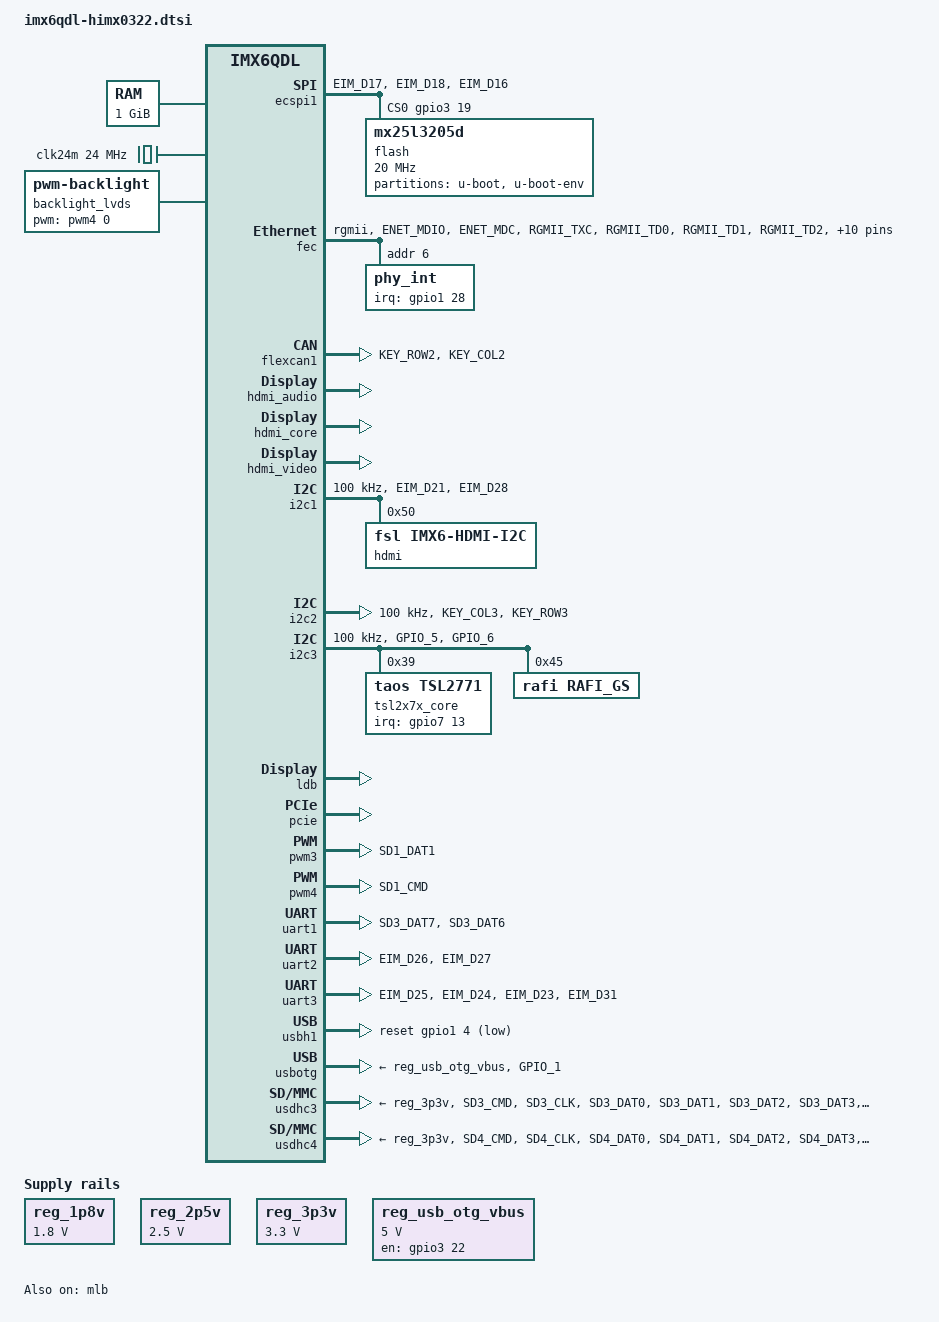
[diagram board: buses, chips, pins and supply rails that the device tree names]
/*
 * Copyright 2015 DResearch Fahrzeugelektronik GmbH
 * Copyright 2013 Boundary Devices
 * Copyright 2012 Freescale Semiconductor, Inc.
 * Copyright 2011 Linaro Ltd.
 *
 * The code contained herein is licensed under the GNU General Public
 * License. You may obtain a copy of the GNU General Public License
 * Version 2 or later at the following locations:
 *
 * http://www.opensource.org/licenses/gpl-license.html
 * http://www.gnu.org/copyleft/gpl.html
 */
#include <dt-bindings/input/input.h>

/ {
	aliases {
		mxcfb0 = &mxcfb1;
		mxcfb1 = &mxcfb2;
		mxcfb2 = &mxcfb3;
		mxcfb3 = &mxcfb4;
		ethernet0 = &fec;
	};

	memory {
		reg = <0x10000000 0x40000000>;
	};

	clocks {
		clk24m: clk24m {
			compatible = "fixed-clock";
			#clock-cells = <0>;
			clock-frequency = <24000000>;
		};
	};

	regulators {
		compatible = "simple-bus";

		reg_1p8v: 1p8v {
			compatible = "regulator-fixed";
			regulator-name = "1P8V";
			regulator-min-microvolt = <1800000>;
			regulator-max-microvolt = <1800000>;
			regulator-always-on;
		};

		reg_2p5v: 2p5v {
			compatible = "regulator-fixed";
			regulator-name = "2P5V";
			regulator-min-microvolt = <2500000>;
			regulator-max-microvolt = <2500000>;
			regulator-always-on;
		};

		reg_3p3v: 3p3v {
			compatible = "regulator-fixed";
			regulator-name = "3P3V";
			regulator-min-microvolt = <3300000>;
			regulator-max-microvolt = <3300000>;
			regulator-always-on;
		};

		reg_usb_otg_vbus: usb_otg_vbus {
			compatible = "regulator-fixed";
			regulator-name = "usb_otg_vbus";
			regulator-min-microvolt = <5000000>;
			regulator-max-microvolt = <5000000>;
			gpio = <&gpio3 22 0>;
			enable-active-high;
		};
	};

	mxcfb1: fb@0 {
		compatible = "fsl,mxc_sdc_fb";
		disp_dev = "ldb";
		interface_pix_fmt = "RGB24";
		default_bpp = <32>;
		int_clk = <0>;
		late_init = <0>;
		status = "disabled";
	};

	mxcfb2: fb@1 {
		compatible = "fsl,mxc_sdc_fb";
		disp_dev = "hdmi";
		interface_pix_fmt = "RGB24";
		mode_str ="1920x1080M@60";
		default_bpp = <32>;
		int_clk = <0>;
		late_init = <0>;
		status = "disabled";
	};

	mxcfb3: fb@2 {
		compatible = "fsl,mxc_sdc_fb";
		disp_dev = "lcd";
		interface_pix_fmt = "RGB565";
		mode_str ="CLAA-WVGA";
		default_bpp = <16>;
		int_clk = <0>;
		late_init = <0>;
		status = "disabled";
	};

	mxcfb4: fb@3 {
		compatible = "fsl,mxc_sdc_fb";
		disp_dev = "ldb";
		interface_pix_fmt = "RGB666";
		mode_str ="LDB-XGA";
		default_bpp = <16>;
		int_clk = <0>;
		late_init = <0>;
		status = "disabled";
	};

	backlight_lvds {
		compatible = "pwm-backlight";
		pwms = <&pwm4 0 5000000>;
		brightness-levels = <0 4 8 16 32 64 128 255>;
		default-brightness-level = <7>;
	};

	v4l2_out {
		compatible = "fsl,mxc_v4l2_output";
		status = "okay";
	};

#if 0
	gpio-poweroff {
		compatible = "gpio-poweroff";
		gpios = <&gpio7 12 GPIO_ACTIVE_LOW>;
	};
#endif

};

&ecspi1 {
	fsl,spi-num-chipselects = <1>;
	cs-gpios = <&gpio3 19 0>;
	pinctrl-names = "default";
	pinctrl-0 = <&pinctrl_ecspi1>;
	status = "okay";

	flash: m25p32@0 {
		compatible = "mx25l3205d";
		spi-max-frequency = <20000000>;
		reg = <0>;
		#address-cells = <1>;
		#size-cells = <1>;
		partition@0 {
			label = "u-boot";
			reg = <0x0 0x3E0000>;
		};
		partition@3E0000 {
			label = "u-boot-env";
			reg = <0x3E0000 0x20000>;
		};
	};
};

&fec {
	pinctrl-names = "default";
	pinctrl-0 = <&pinctrl_enet>;
	phy-mode = "rgmii";
#if 0
	phy-reset-gpios = <&gpio1 27 0>;
#endif
	status = "okay";

	#address-cells = <0>;
	#size-cells = <1>;
	phy_int {
		reg = <0x6>;
		interrupt-parent = <&gpio1>;
		interrupts = <28 IRQ_TYPE_LEVEL_LOW>;
	};
};

&flexcan1 {
	pinctrl-names = "default";
	pinctrl-0 = <&pinctrl_flexcan1>;
	status = "okay";
};

&hdmi_audio {
	status = "okay";
};

&hdmi_core {
	ipu_id = <1>;
	disp_id = <0>;
	status = "okay";
};

&hdmi_video {
	fsl,phy_reg_vlev = <0x0294>;
	fsl,phy_reg_cksymtx = <0x800d>;
	status = "okay";
};

&i2c1 {
	clock-frequency = <100000>;
	pinctrl-names = "default";
	pinctrl-0 = <&pinctrl_i2c1>;
	status = "okay";

	hdmi: edid@50 {
		compatible = "fsl,imx6-hdmi-i2c";
		reg = <0x50>;
	};
};

&i2c2 {
	clock-frequency = <100000>;
	pinctrl-names = "default";
	pinctrl-0 = <&pinctrl_i2c2>;
	status = "okay";

};

&i2c3 {
        clock-frequency = <100000>;
        pinctrl-names = "default";
        pinctrl-0 = <&pinctrl_i2c3_5>;
        status = "okay";

	tsl2x7x_core@39 {
		compatible = "taos,tsl2771";
		reg = <0x39>;
		interrupt-parent = <&gpio7>;
		interrupts = <13 IRQ_TYPE_LEVEL_LOW>;
	};

	rafi_gs@45 {
		compatible = "rafi,rafi_gs";
		reg = <0x45>;
	};
};

&iomuxc {
	pinctrl-names = "default";
	pinctrl-0 = <&pinctrl_hog_1>;

	i2c3 {
		pinctrl_i2c3_5: i2c3grp-5 {
			fsl,pins = <
				MX6QDL_PAD_GPIO_5__I2C3_SCL  0x4001b8b1
				MX6QDL_PAD_GPIO_6__I2C3_SDA  0x4001b8b1
			>;
		};
	};

	imx6q-nitrogen6x {
		pinctrl_hog_1: hoggrp-1 {
			fsl,pins = <
		/*		MX6QDL_PAD_GPIO_4__GPIO1_IO04		0x80000000 */	/* /RST_USB_HUB */
		/*		MX6QDL_PAD_GPIO_8__GPIO1_IO08		0x000b0	*/	/* /INIC_INT */
		/*		MX6QDL_PAD_GPIO_9__GPIO1_IO09		0x80000000 */	/* MOST PWR EN */
		/*		MX6QDL_PAD_GPIO_17__GPIO7_IO12		0x1b0b0	*/	/* IGN */
                                MX6QDL_PAD_GPIO_18__GPIO7_IO13          0x1b0b0		/* /HW_INT */
				MX6QDL_PAD_EIM_D19__GPIO3_IO19		0x80000000	/* spi-nor CS */
		/*		MX6QDL_PAD_ENET_TX_EN__GPIO1_IO28	0x1b0b0	*/	/* /ETH_INT */
				MX6QDL_PAD_SD3_DAT5__GPIO7_IO00		0x80000000	/* USDHC3 CD */
				MX6QDL_PAD_SD3_DAT4__GPIO7_IO01		0x1f0b0		/* /SD3_WP*/
				MX6QDL_PAD_NANDF_D6__GPIO2_IO06		0x80000000	/* uSDHC4 CD */
				MX6QDL_PAD_NANDF_D7__GPIO2_IO07		0x80000000	/* /SD4_WP */
			>;
		};

		pinctrl_ecspi1: ecspi1grp {
			fsl,pins = <
				MX6QDL_PAD_EIM_D17__ECSPI1_MISO		0x100b1
				MX6QDL_PAD_EIM_D18__ECSPI1_MOSI		0x100b1
				MX6QDL_PAD_EIM_D16__ECSPI1_SCLK		0x100b1
			>;
		};

		pinctrl_flexcan1: flexcan1grp {
			fsl,pins = <
				MX6QDL_PAD_KEY_ROW2__FLEXCAN1_RX	0x80000000
				MX6QDL_PAD_KEY_COL2__FLEXCAN1_TX	0x80000000
			>;
		};

		pinctrl_usbotg: usbotggrp {
			fsl,pins = <
				MX6QDL_PAD_GPIO_1__USB_OTG_ID 0x17059
			>;
		};

		pinctrl_enet: enetgrp {
			fsl,pins = <
				MX6QDL_PAD_ENET_MDIO__ENET_MDIO		0x1b0b0
				MX6QDL_PAD_ENET_MDC__ENET_MDC		0x1b0b0
				MX6QDL_PAD_RGMII_TXC__RGMII_TXC		0x1b0b0
				MX6QDL_PAD_RGMII_TD0__RGMII_TD0		0x1b0b0
				MX6QDL_PAD_RGMII_TD1__RGMII_TD1		0x1b0b0
				MX6QDL_PAD_RGMII_TD2__RGMII_TD2		0x1b0b0
				MX6QDL_PAD_RGMII_TD3__RGMII_TD3		0x1b0b0
				MX6QDL_PAD_RGMII_TX_CTL__RGMII_TX_CTL	0x1b0b0
				MX6QDL_PAD_ENET_REF_CLK__ENET_TX_CLK	0x1b0b0
				MX6QDL_PAD_RGMII_RXC__RGMII_RXC		0x1b0b0
				MX6QDL_PAD_RGMII_RD0__RGMII_RD0		0x1b0b0
				MX6QDL_PAD_RGMII_RD1__RGMII_RD1		0x1b0b0
				MX6QDL_PAD_RGMII_RD2__RGMII_RD2		0x1b0b0
				MX6QDL_PAD_RGMII_RD3__RGMII_RD3		0x1b0b0
				MX6QDL_PAD_RGMII_RX_CTL__RGMII_RX_CTL	0x1b0b0
				MX6QDL_PAD_ENET_TX_EN__ENET_TX_EN	0x4001b0a8
			>;
		};

		pinctrl_usdhc3: usdhc3grp {
			fsl,pins = <
				MX6QDL_PAD_SD3_CMD__SD3_CMD		0x17059
				MX6QDL_PAD_SD3_CLK__SD3_CLK		0x10059
				MX6QDL_PAD_SD3_DAT0__SD3_DATA0		0x17059
				MX6QDL_PAD_SD3_DAT1__SD3_DATA1		0x17059
				MX6QDL_PAD_SD3_DAT2__SD3_DATA2		0x17059
				MX6QDL_PAD_SD3_DAT3__SD3_DATA3		0x17059
			>;
		};

		pinctrl_usdhc4: usdhc4grp {
			fsl,pins = <
				MX6QDL_PAD_SD4_CMD__SD4_CMD		0x17059
				MX6QDL_PAD_SD4_CLK__SD4_CLK		0x10059
				MX6QDL_PAD_SD4_DAT0__SD4_DATA0		0x17059
				MX6QDL_PAD_SD4_DAT1__SD4_DATA1		0x17059
				MX6QDL_PAD_SD4_DAT2__SD4_DATA2		0x17059
				MX6QDL_PAD_SD4_DAT3__SD4_DATA3		0x17059
			>;
		};

		pinctrl_i2c1: i2c1grp {
			fsl,pins = <
				MX6QDL_PAD_EIM_D21__I2C1_SCL  0x4001b8b1
				MX6QDL_PAD_EIM_D28__I2C1_SDA  0x4001b8b1
			>;
		};

		pinctrl_i2c2: i2c2grp {
			fsl,pins = <
				MX6QDL_PAD_KEY_COL3__I2C2_SCL 0x4001b8b1
				MX6QDL_PAD_KEY_ROW3__I2C2_SDA 0x4001b8b1
			>;
		};
	};

	pwm3 {
		pinctrl_pwm3_2: pwm3grp-2 {
			fsl,pins = <
				MX6QDL_PAD_SD1_DAT1__PWM3_OUT 0x1b0b1
			>;
		};
	};

	pwm4 {
		pinctrl_pwm4_2: pwm4grp-2 {
			fsl,pins = <
				MX6QDL_PAD_SD1_CMD__PWM4_OUT 0x1b0b1
			>;
		};
	};

	uart1 {
		pinctrl_uart1_2: uart1grp-2 {
			fsl,pins = <
				MX6QDL_PAD_SD3_DAT7__UART1_TX_DATA 0x1b0b1
				MX6QDL_PAD_SD3_DAT6__UART1_RX_DATA 0x1b0b1
			>;
		};
	};


	uart2 {
		pinctrl_uart2_1: uart2grp-1 {
			fsl,pins = <
				MX6QDL_PAD_EIM_D26__UART2_TX_DATA 0x1b0b1
				MX6QDL_PAD_EIM_D27__UART2_RX_DATA 0x1b0b1
			>;
		};
	};
	uart3 {
		pinctrl_uart3_2: uart3grp-2 {
			fsl,pins = <
				MX6QDL_PAD_EIM_D25__UART3_RX_DATA 0x1b0b1
				MX6QDL_PAD_EIM_D24__UART3_TX_DATA 0x1b0b1
				MX6QDL_PAD_EIM_D23__UART3_CTS_B   0x1b0b1
				MX6QDL_PAD_EIM_D31__UART3_RTS_B   0x1b0b1
			>;
		};
	};
};

&ldb {
	ext_ref = <1>;
	status = "okay";

	lvds-channel@0 {
		crtc = "ipu1-di1";
		fsl,data-mapping = "jeida";
		fsl,data-width = <24>;
		primary;
		status = "okay";

		display-timings {
			native-mode = <&timing0>;
			timing0: 1280p60 {
				clock-frequency = <79503000>;
				hactive = <1280>;
				vactive = <768>;
				hback-porch = <192>;
				hfront-porch = <64>;
				vback-porch = <3>;
				vfront-porch = <20>;
				hsync-len = <128>;
				vsync-len = <7>;
			};
		};
	};
};

&mlb {
	pinctrl-names = "default";
#if 0
	pinctrl-0 = <&pinctrl_mlb_2>;
#endif
	status = "okay";
};

&pcie {
	status = "okay";
};

#if 0
&pwm1 {
	pinctrl-names = "default";
	pinctrl-0 = <&pinctrl_pwm1_1>;
	status = "okay";
};
#endif

&pwm3 {
	pinctrl-names = "default";
	pinctrl-0 = <&pinctrl_pwm3_2>;
	status = "okay";
};

&pwm4 {
	pinctrl-names = "default";
	pinctrl-0 = <&pinctrl_pwm4_2>;
	status = "okay";
};

&uart1 {
	pinctrl-names = "default";
	pinctrl-0 = <&pinctrl_uart1_2>;
	status = "okay";
};

&uart2 {
	pinctrl-names = "default";
	pinctrl-0 = <&pinctrl_uart2_1>;
	status = "okay";
};

&uart3 {
	pinctrl-names = "default";
	pinctrl-0 = <&pinctrl_uart3_2>;
	fsl,uart-has-rtscts;
	status = "okay";
};

&usbh1 {
	reset-gpios = <&gpio1 4 GPIO_ACTIVE_LOW>;
	status = "okay";
};

&usbotg {
	vbus-supply = <&reg_usb_otg_vbus>;
	pinctrl-names = "default";
	pinctrl-0 = <&pinctrl_usbotg>;
	disable-over-current;
	status = "okay";
};

&usdhc3 {
	pinctrl-names = "default";
	pinctrl-0 = <&pinctrl_usdhc3>;
	cd-gpios = <&gpio7 0 0>;
	vmmc-supply = <&reg_3p3v>;
	status = "okay";
};

&usdhc4 {
	pinctrl-names = "default";
	pinctrl-0 = <&pinctrl_usdhc4>;
	cd-gpios = <&gpio2 6 0>;
	vmmc-supply = <&reg_3p3v>;
	status = "okay";
};
